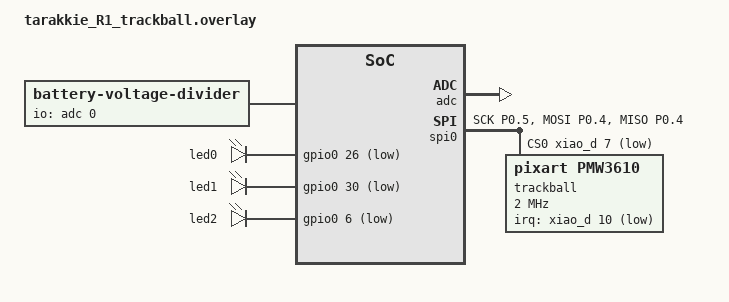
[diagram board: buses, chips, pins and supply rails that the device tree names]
/*
 * Copyright (c) 2025 The ZMK Contributors
 *
 * SPDX-License-Identifier: MIT
 */

#include <dt-bindings/zmk/matrix_transform.h>
#include <zephyr/dt-bindings/input/input-event-codes.h>
#include "tarakkie_R1_trackball_shared.dtsi"

/ {
    chosen {
        zmk,matrix-transform = &trackball_transform;
        zmk,battery = &vbatt;
    };

    vbatt: vbatt {
        compatible = "zmk,battery-voltage-divider";
        label = "BATTERY";
        io-channels = <&adc 0>; // D0 is P0.02 (AIN0)
        output-ohms = <1000000>;
        full-ohms = <8500000>; // Match the keyboard halves' AA battery divider calibration.
    };

    trackball_transform: trackball_transform {
        compatible = "zmk,matrix-transform";
        columns = <1>;
        rows = <1>;
        map = <RC(0,0)>;
    };
};

&adc {
    status = "okay";
};

&pinctrl {
    spi0_default: spi0_default {
        group1 {
            psels = <NRF_PSEL(SPIM_SCK, 0, 5)>,  // D5: SCLK
                <NRF_PSEL(SPIM_MOSI, 0, 4)>,     // D4: SDIO
                <NRF_PSEL(SPIM_MISO, 0, 4)>;     // D4: SDIO
        };
    };

    spi0_sleep: spi0_sleep {
        group1 {
            psels = <NRF_PSEL(SPIM_SCK, 0, 5)>,  // D5: SCLK
                <NRF_PSEL(SPIM_MOSI, 0, 4)>,     // D4: SDIO
                <NRF_PSEL(SPIM_MISO, 0, 4)>;     // D4: SDIO
            low-power-enable;
        };
    };
};

&spi0 {
    status = "okay";
    compatible = "nordic,nrf-spim";
    pinctrl-0 = <&spi0_default>;
    pinctrl-1 = <&spi0_sleep>;
    pinctrl-names = "default", "sleep";
    cs-gpios = <&xiao_d 7 GPIO_ACTIVE_LOW>; // D7: nCS

    trackball: trackball@0 {
        status = "okay";
        compatible = "pixart,pmw3610";
        reg = <0>;
        spi-max-frequency = <2000000>;
        irq-gpios = <&xiao_d 10 (GPIO_ACTIVE_LOW | GPIO_PULL_UP)>; // D10: MOTION
        cpi = <600>;
        evt-type = <INPUT_EV_REL>;
        x-input-code = <INPUT_REL_X>;
        y-input-code = <INPUT_REL_Y>;
    };
};

/ {
    trackball_input_relay {
        compatible = "zmk,split-peripheral-input-relay";
        relay-channel = <101>;
        device = <&trackball>;
    };
};

/ {
    aliases {
        led-red = &led0;
        led-green = &led1;
        led-blue = &led2;
    };

    leds {
        compatible = "gpio-leds";
        status = "okay";
        led0: led_0 { gpios = <&gpio0 26 GPIO_ACTIVE_LOW>; };
        led1: led_1 { gpios = <&gpio0 30 GPIO_ACTIVE_LOW>; };
        led2: led_2 { gpios = <&gpio0 6 GPIO_ACTIVE_LOW>; };
    };
};
